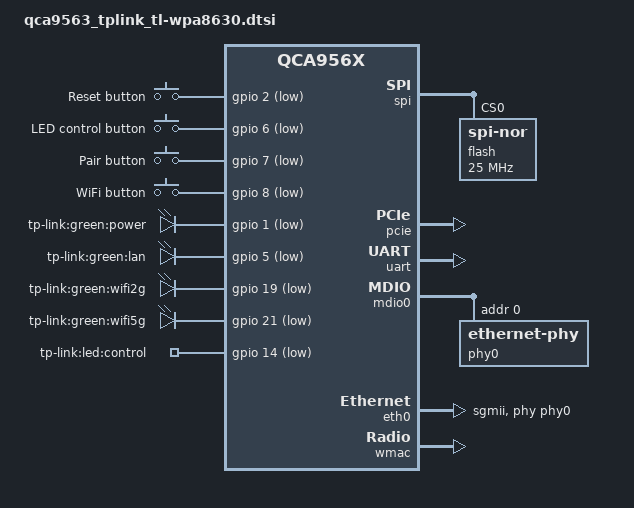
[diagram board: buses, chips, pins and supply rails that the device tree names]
// SPDX-License-Identifier: GPL-2.0-or-later OR MIT

#include "qca956x.dtsi"

#include <dt-bindings/gpio/gpio.h>
#include <dt-bindings/input/input.h>

/ {
	aliases {
		led-boot = &led_power;
		led-failsafe = &led_power;
		led-running = &led_power;
		led-upgrade = &led_power;
	};

	keys {
		compatible = "gpio-keys";

		reset {
			label = "Reset button";
			linux,code = <KEY_RESTART>;
			gpios = <&gpio 2 GPIO_ACTIVE_LOW>;
			debounce-interval = <60>;
		};

		leds {
			label = "LED control button";
			linux,code = <KEY_LIGHTS_TOGGLE>;
			gpios = <&gpio 6 GPIO_ACTIVE_LOW>;
			debounce-interval = <60>;
		};

		pair {
			label = "Pair button";
			linux,code = <BTN_1>;
			gpios = <&gpio 7 GPIO_ACTIVE_LOW>;
			debounce-interval = <60>;
		};

		wifi {
			label = "WiFi button";
			linux,code = <KEY_RFKILL>;
			gpios = <&gpio 8 GPIO_ACTIVE_LOW>;
			debounce-interval = <60>;
		};
	};

	leds {
		compatible = "gpio-leds";

		led_power: power {
			label = "tp-link:green:power";
			gpios = <&gpio 1 GPIO_ACTIVE_LOW>;
		};

		lan {
			label = "tp-link:green:lan";
			gpios = <&gpio 5 GPIO_ACTIVE_LOW>;
		};

		wifi2g {
			label = "tp-link:green:wifi2g";
			gpios = <&gpio 19 GPIO_ACTIVE_LOW>;
			linux,default-trigger = "phy1tpt";
		};

		wifi5g {
			label = "tp-link:green:wifi5g";
			gpios = <&gpio 21 GPIO_ACTIVE_LOW>;
			linux,default-trigger = "phy0tpt";
		};
	};

	gpio-export {
		compatible = "gpio-export";

		led_control {
			gpio-export,name = "tp-link:led:control";
			gpio-export,output = <0>;
			gpios = <&gpio 14 GPIO_ACTIVE_LOW>;
		};
	};
};

&spi {
	status = "okay";

	num-cs = <1>;

	flash@0 {
		compatible = "jedec,spi-nor";
		reg = <0>;
		spi-max-frequency = <25000000>;

		partitions: partitions {
			compatible = "fixed-partitions";
			#address-cells = <1>;
			#size-cells = <1>;
		};
	};
};

&pcie {
	status = "okay";
};

&uart {
	status = "okay";
};

&mdio0 {
	status = "okay";

	phy-mask = <0>;

	phy0: ethernet-phy@0 {
		reg = <0>;
		phy-mode = "sgmii";
		qca,mib-poll-interval = <500>;

		qca,ar8327-initvals = <
			0x04 0x00080080 /* PORT0 PAD MODE CTRL */
			0x7c 0x0000007e /* PORT0_STATUS */
		>;
	};
};

&eth0 {
	status = "okay";

	phy-handle = <&phy0>;
	phy-mode = "sgmii";
};

&wmac {
	status = "okay";

	mtd-cal-data = <&art 0x1000>;
};
